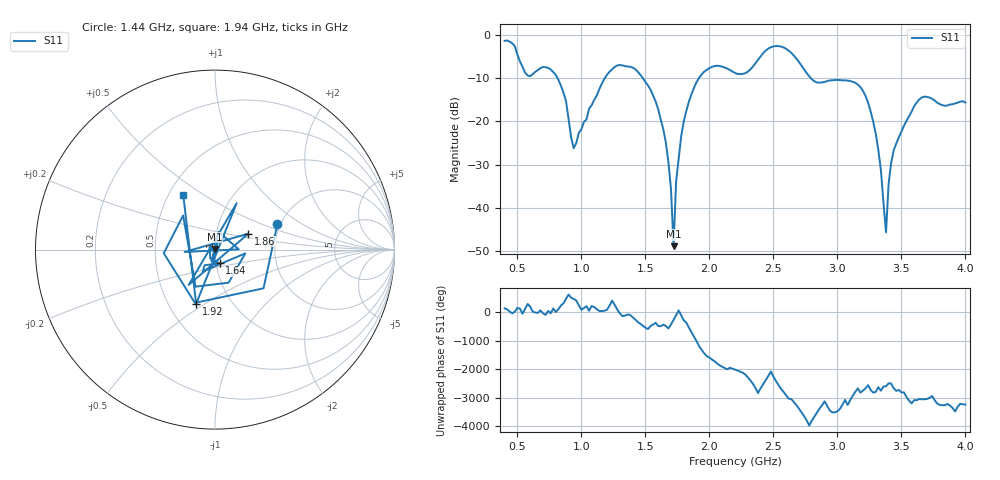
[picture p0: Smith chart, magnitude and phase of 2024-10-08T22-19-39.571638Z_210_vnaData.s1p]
! Created with skrf (http://scikit-rf.org).
# Hz S RI R 50.0
!freq ReS11 ImS11
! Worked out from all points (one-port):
!   181 points, 400 MHz to 4 GHz, reference 50 ohm
!   lowest |S11| = -48.8 dB at 1.72 GHz (marker M1), VSWR 1.01, Z = 50 + j0.361 ohm
!   |S11| at or under -10 dB: 813.3 MHz to 1.183 GHz (369.4 MHz wide, 37 % of centre); 1.48 GHz to 1.918 GHz (437.7 MHz wide, 25.8 % of centre); 2.793 GHz to end of sweep
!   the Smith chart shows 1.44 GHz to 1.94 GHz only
!   S11 on the Smith chart (normalised r, x): 1.44 GHz: 1.93, +0.64; 1.64 GHz: 1.04, -0.16; 1.86 GHz: 1.43, +0.27; 1.92 GHz: 0.68, -0.46; 1.94 GHz: 0.59, +0.41
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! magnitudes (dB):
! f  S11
! 400 MHz  -1.4
! 580 MHz  -9.4
! 740 MHz  -7.6
! 860 MHz  -13.4
! 940 MHz  -26.2
! 1.18 GHz  -10.1
! 1.3 GHz  -6.9
! 1.44 GHz  -8.5
! 1.64 GHz  -21.8
! 1.7 GHz  -35.6
! 1.72 GHz  -48.8
! 1.74 GHz  -33.8
! 1.76 GHz  -28.5
! 1.86 GHz  -13.7
! 1.92 GHz  -9.9
! 1.94 GHz  -9.1
! 2.2 GHz  -8.8
! 2.5 GHz  -2.7
! 2.66 GHz  -4.8
! 2.84 GHz  -11.0
! 3.1 GHz  -10.7
! 3.28 GHz  -20.1
! 3.34 GHz  -31.3
! 3.38 GHz  -45.6
! 3.42 GHz  -29.5
! 3.56 GHz  -18.8
! 3.68 GHz  -14.3
! 4 GHz  -15.6
